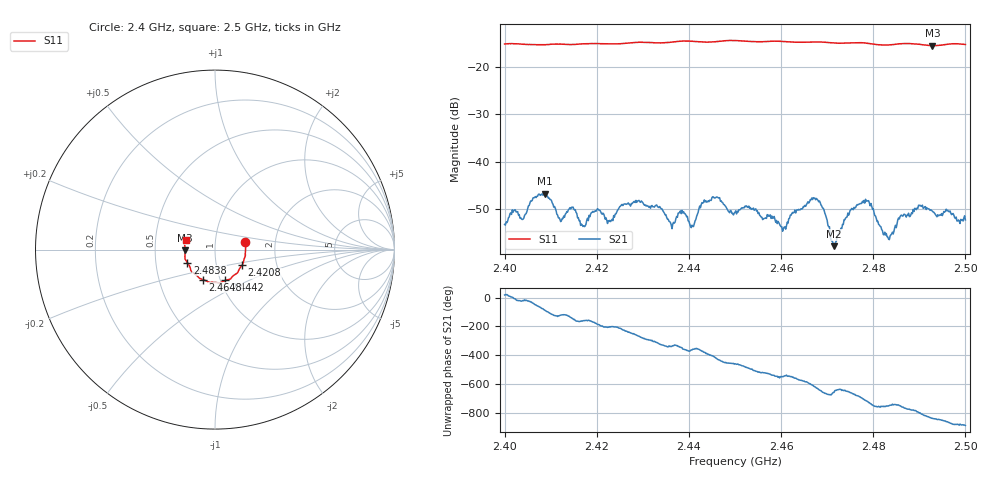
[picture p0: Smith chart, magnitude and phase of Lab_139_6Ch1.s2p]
# Hz S RI R 50
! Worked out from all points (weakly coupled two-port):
!   601 points, 2.4 GHz to 2.5 GHz, reference 50 ohm
!   highest |S21| = -46.69 dB at 2.4088 GHz (marker M1); lowest = -57.7 dB at 2.4715 GHz (marker M2)
!   lowest |S11| = -15.6 dB at 2.4928 GHz (marker M3), VSWR 1.40, Z = 35.8 - j0.358 ohm
!   |S11| at or under -10 dB: start of sweep to end of sweep
!   S12 and S22 are empty: the file has one direction only
!   S11 on the Smith chart (normalised r, x): 2.4 GHz: 1.40, +0.12; 2.4208 GHz: 1.33, -0.24; 2.4442 GHz: 1.05, -0.37; 2.4648 GHz: 0.83, -0.29; 2.4838 GHz: 0.73, -0.11; 2.5 GHz: 0.72, +0.08
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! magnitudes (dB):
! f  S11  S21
! 2.4 GHz  -15.3  -53.2
! 2.4088 GHz  -15.4  -46.7
! 2.4118 GHz  -15.3  -51.8
! 2.4147 GHz  -15.4  -49.6
! 2.4167 GHz  -15.2  -53.1
! 2.4208 GHz  -15.2  -50.5
! 2.4333 GHz  -15.0  -49.5
! 2.4407 GHz  -14.7  -53.3
! 2.4442 GHz  -14.9  -48.2
! 2.45 GHz  -14.5  -50.6
! 2.4605 GHz  -14.7  -54.1
! 2.4648 GHz  -14.9  -49.4
! 2.4667 GHz  -14.8  -47.6
! 2.4688 GHz  -14.8  -49.3
! 2.4715 GHz  -15.1  -57.7
! 2.475 GHz  -15.0  -50.1
! 2.4785 GHz  -15.1  -48.3
! 2.4833 GHz  -15.5  -56.3
! 2.4838 GHz  -15.4  -55.3
! 2.4863 GHz  -15.2  -51.4
! 2.4928 GHz  -15.6  -50.4
! 2.5 GHz  -15.4  -52.2
